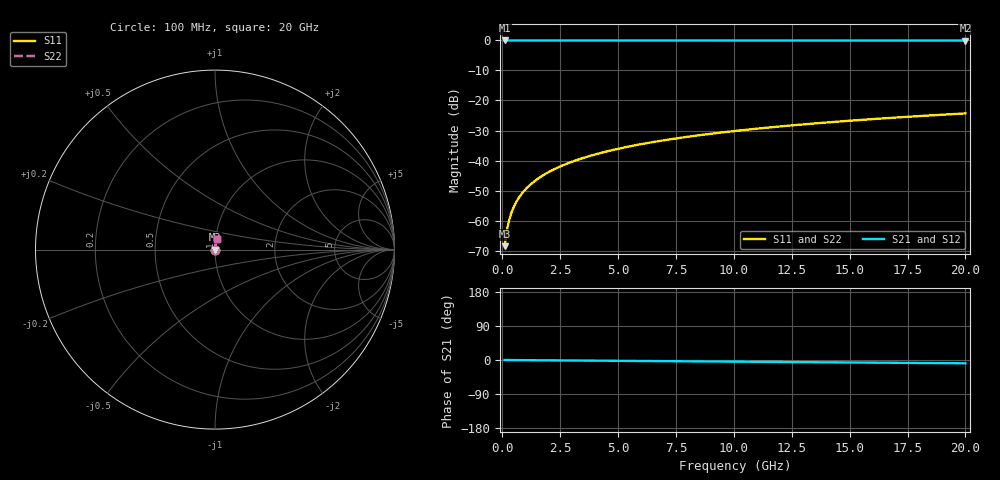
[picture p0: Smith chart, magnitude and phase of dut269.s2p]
! Touchstone file exported from HFSS 2026.1.0
!  File:  C:/ffzhzh/LocalFiles/Ansys_Project_Files/temp_train_TSV_269_1782993275_40604.aedt
!  Generated:  07:56:17 PM Jul  2, 2026
!  Design:  TSV
!  Project:  temp_train_TSV_269_1782993275_40604
! Variables:
!  h_bsmrdl = 2um
!  h_ox = 20um
!  h_rdl = 5um
!  h_sub = 72.94um
!  h_tmrdl = 5um
!  h_tsv = 72.94um
!  h_via = 3um
!  l_bsmrdl = 300um
!  l_sub = 417.04um
!  l_tmrdl = 200um
!  m_sub = 200um
!  pitch = 59.62um
!  r_tsv = 8.52um
!  s_tmrdl = 10um
!  w_bsmrdl = 18um
!  w_sub = 500um
!  w_tmrdl = 12um
!  x_tsv_center1 = 206um
!  x_tsv_center2 = 524um
!  x_tsv_center3 = 736um
!  x_tsv_center4 = 1054um
!  x_tsv_center5 = 1266um
!  x_tsv_center6 = 1584um
# GHz S MA R 50.000000
! Terminal data exported
! Port[1] = TSV1_1_T1
! Port[2] = TSV1_1_T2
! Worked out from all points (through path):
!   200 points, 100 MHz to 20 GHz, reference 50 ohm
!   highest |S21| = 0.00 dB at 100 MHz (marker M1); lowest = 0.0 dB at 20 GHz (marker M2)
!   group delay of S21, straight-line fit = 1.2 ps
!   lowest |S11| = -68.5 dB at 100 MHz (marker M3), VSWR 1.00, Z = 50 + j0.0344 ohm
!   |S11| at or under -10 dB: start of sweep to end of sweep
!   |S22| runs from -68.5 to -24.3 dB; largest |S21 - S12| = 3.4e-15
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0.1  0.0003748 66.7  0.9999 -0.0  0.9999 -0.0  0.0003748 66.7
! Gamma 0 0 0 0
! Port Impedance 50 0 50 0
0.2  0.0007045 77.0  0.9998 -0.1  0.9998 -0.1  0.0007045 77.0
0.3  0.00104 80.4  0.9998 -0.1  0.9998 -0.1  0.00104 80.4
0.4  0.001374 81.9  0.9998 -0.2  0.9998 -0.2  0.001374 81.9
0.5  0.001704 82.8  0.9998 -0.2  0.9998 -0.2  0.001704 82.8
0.6  0.002031 83.3  0.9998 -0.3  0.9998 -0.3  0.002031 83.3
0.7  0.002353 83.6  0.9997 -0.3  0.9997 -0.3  0.002353 83.6
0.8  0.002673 83.9  0.9997 -0.4  0.9997 -0.4  0.002673 83.9
1  0.003306 84.3  0.9997 -0.4  0.9997 -0.4  0.003306 84.3
1.4  0.004557 84.9  0.9996 -0.6  0.9996 -0.6  0.004557 84.9
1.7  0.00549 85.2  0.9996 -0.8  0.9996 -0.8  0.00549 85.2
2  0.006421 85.4  0.9996 -0.9  0.9996 -0.9  0.006421 85.4
2.7  0.008592 85.6  0.9995 -1.2  0.9995 -1.2  0.008592 85.6
3.5  0.01107 85.7  0.9994 -1.5  0.9994 -1.5  0.01107 85.7
4.2  0.01323 85.6  0.9993 -1.8  0.9993 -1.8  0.01323 85.6
5  0.01569 85.5  0.9992 -2.2  0.9992 -2.2  0.01569 85.5
6.8  0.0212 85.0  0.999 -3.0  0.999 -3.0  0.0212 85.0
8.3  0.02577 84.5  0.9988 -3.6  0.9988 -3.6  0.02577 84.5
10.1  0.03124 83.9  0.9986 -4.4  0.9986 -4.4  0.03124 83.9
13.4  0.04122 82.7  0.9981 -5.8  0.9981 -5.8  0.04122 82.7
16.7  0.05114 81.4  0.9975 -7.2  0.9975 -7.2  0.05114 81.4
20  0.06098 80.1  0.9969 -8.7  0.9969 -8.7  0.06098 80.1
